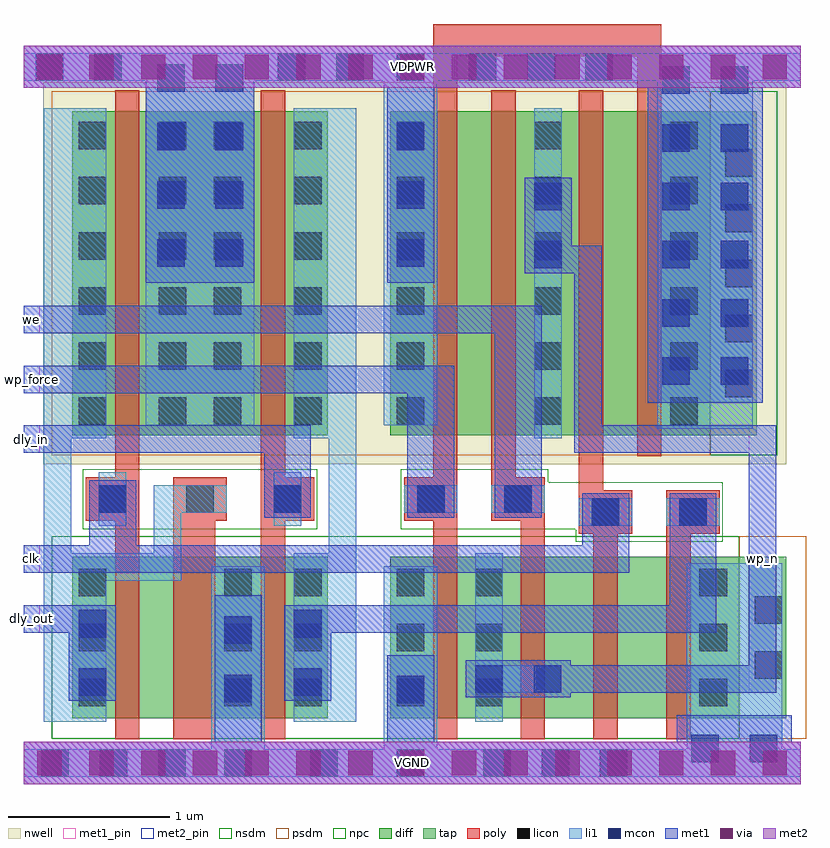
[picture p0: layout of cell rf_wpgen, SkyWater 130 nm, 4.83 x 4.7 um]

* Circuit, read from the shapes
.subckt rf_wpgen VDPWR VGND clk dly_in dly_out we wp_force wp_n
XM1 n1 clk dly_out VGND sky130_fd_pr__nfet_01v8 w=1 l=0.15
XM2 VGND dly_out n1 VGND sky130_fd_pr__nfet_01v8 w=1 l=0.26
XM3 n2 dly_in VGND VGND sky130_fd_pr__nfet_01v8 w=1 l=0.15
XM4 wp_n wp_force VGND VGND sky130_fd_pr__nfet_01v8 w=1 l=0.15
XM5 n3 we wp_n VGND sky130_fd_pr__nfet_01v8 w=1 l=0.15
XM6 n4 clk n3 VGND sky130_fd_pr__nfet_01v8 w=1 l=0.15
XM7 VGND n2 n4 VGND sky130_fd_pr__nfet_01v8 w=1 l=0.15
XM8 VDPWR clk dly_out VDPWR sky130_fd_pr__pfet_01v8 w=2 l=0.15
XM9 n2 dly_in VDPWR VDPWR sky130_fd_pr__pfet_01v8 w=2 l=0.15
XM10 n5 wp_force VDPWR VDPWR sky130_fd_pr__pfet_01v8 w=2 l=0.15
XM11 wp_n we n5 VDPWR sky130_fd_pr__pfet_01v8 w=2 l=0.15
XM12 n6 clk wp_n VDPWR sky130_fd_pr__pfet_01v8 w=2 l=0.15
XM13 VDPWR wp_force n6 VDPWR sky130_fd_pr__pfet_01v8 w=2 l=0.15
.ends

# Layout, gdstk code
import gdstk
lib = gdstk.Library(unit=1e-6, precision=1e-09)
def R(c, l, rs):  # rectangles x0, y0, x1, y1
    for r in rs: c.add(gdstk.rectangle(r[:2], r[2:], *l))
def A(c, l, x, y, w, h, nx, ny, dx, dy):  # array of equal rectangles
    R(c, l, [(x+i*dx, y+j*dy, x+i*dx+w, y+j*dy+h) for i in range(nx) for j in range(ny)])
nwell = (64, 20)
diff = (65, 20)
tap = (65, 44)
poly = (66, 20)
licon = (66, 44)
li1 = (67, 20)
mcon = (67, 44)
met1_pin = (68, 16)
met1 = (68, 20)
via = (68, 44)
met2_pin = (69, 16)
met2 = (69, 20)
nsdm = (93, 44)
psdm = (94, 20)
npc = (95, 20)

rf_wpgen = lib.new_cell('rf_wpgen')
R(rf_wpgen, nwell, [(-0.18,1.57,4.41,3.93)])
R(rf_wpgen, diff, [(0,0,1.58,1), (1.965,0,4.12,1), (0,1.75,1.58,3.75), (1.965,1.75,3.94,3.75)])
R(rf_wpgen, tap, [(4.12,0,4.41,1), (3.94,1.75,4.23,3.75)])
A(rf_wpgen, poly, 0.085, 1.22, 0.33, 0.27, 3, 1, 0.54, 0)
R(rf_wpgen, poly, [(0.265,-0.13,0.415,1.22), (0.625,-0.13,0.885,1.22), (1.165,-0.13,1.315,1.22), (2.23,-0.13,2.38,1.22), (2.77,-0.13,2.92,1.22), (3.22,-0.13,3.37,1.14), (3.67,-0.13,3.82,1.14), (3.13,1.14,3.46,1.41), (3.67,1.14,4,1.41), (2.05,1.22,2.38,1.49), (2.59,1.22,2.92,1.49), (3.13,1.41,3.28,3.88), (0.265,1.49,0.415,3.88), (1.165,1.49,1.315,3.88), (2.23,1.49,2.38,4.09), (2.59,1.49,2.74,3.88), (3.49,1.62,3.64,4.09), (2.23,4.09,3.64,4.29)])
A(rf_wpgen, licon, 0.04, 0.075, 0.17, 0.17, 1, 3, 0, 0.34)
A(rf_wpgen, licon, 0.94, 0.075, 0.17, 0.17, 1, 3, 0, 0.34)
A(rf_wpgen, licon, 1.37, 0.075, 0.17, 0.17, 1, 3, 0, 0.34)
A(rf_wpgen, licon, 2.005, 0.075, 0.17, 0.17, 1, 3, 0, 0.34)
A(rf_wpgen, licon, 2.49, 0.075, 0.17, 0.17, 1, 3, 0, 0.34)
A(rf_wpgen, licon, 3.875, 0.075, 0.17, 0.17, 1, 3, 0, 0.34)
A(rf_wpgen, licon, 0.165, 1.27, 0.17, 0.17, 3, 1, 0.54, 0)
A(rf_wpgen, licon, 0.04, 1.815, 0.17, 0.17, 1, 6, 0, 0.34)
A(rf_wpgen, licon, 0.535, 1.815, 0.17, 0.17, 1, 6, 0, 0.34)
A(rf_wpgen, licon, 0.875, 1.815, 0.17, 0.17, 1, 6, 0, 0.34)
A(rf_wpgen, licon, 1.37, 1.815, 0.17, 0.17, 1, 6, 0, 0.34)
A(rf_wpgen, licon, 2.005, 1.815, 0.17, 0.17, 1, 6, 0, 0.34)
A(rf_wpgen, licon, 2.855, 1.815, 0.17, 0.17, 1, 6, 0, 0.34)
A(rf_wpgen, licon, 3.695, 1.815, 0.17, 0.17, 1, 6, 0, 0.34)
A(rf_wpgen, licon, 4.035, 1.985, 0.17, 0.17, 1, 5, 0, 0.34)
R(rf_wpgen, licon, [(4.215,0.245,4.385,0.415), (4.215,0.585,4.385,0.755), (3.21,1.19,3.38,1.36), (3.75,1.19,3.92,1.36), (2.13,1.27,2.3,1.44), (2.67,1.27,2.84,1.44)])
R(rf_wpgen, li1, [(-0.3,-0.36,4.5,-0.19), (0.86,-0.19,1.19,0.94), (1.925,-0.19,2.255,0.94), (3.795,-0.19,4.385,0.96), (-0.175,-0.02,0.21,0.85), (1.37,-0.02,1.755,1.02), (2.49,-0.02,2.66,0.16), (2.49,0.16,3.02,0.33), (2.49,0.33,2.66,1.02), (-0.175,0.85,0.675,1.02), (-0.175,1.02,-0.005,1.73), (0.505,1.02,0.675,1.27), (1.585,1.02,1.755,1.73), (0.165,1.19,0.335,1.52), (1.245,1.19,1.415,1.52), (3.13,1.19,3.46,1.36), (3.67,1.19,4,1.36), (0.505,1.27,0.955,1.44), (2.05,1.27,2.38,1.44), (2.59,1.27,2.92,1.44), (-0.175,1.73,0.21,3.77), (1.37,1.73,1.755,3.77), (2.855,1.73,3.025,3.77), (3.615,1.79,4.205,3.94), (0.455,1.81,1.125,3.94), (1.925,1.81,2.255,3.94), (-0.3,3.94,4.5,4.11)])
A(rf_wpgen, mcon, -0.19, -0.36, 0.17, 0.17, 3, 1, 0.36, 0)
A(rf_wpgen, mcon, 1.47, -0.36, 0.17, 0.17, 3, 1, 0.535, 0)
A(rf_wpgen, mcon, 3.645, 2.06, 0.17, 0.17, 1, 6, 0, 0.36)
A(rf_wpgen, mcon, 4.005, 2.06, 0.17, 0.17, 1, 6, 0, 0.36)
A(rf_wpgen, mcon, 0.525, 2.79, 0.17, 0.17, 1, 4, 0, 0.36)
A(rf_wpgen, mcon, 0.885, 2.79, 0.17, 0.17, 1, 4, 0, 0.36)
A(rf_wpgen, mcon, 2.005, 2.79, 0.17, 0.17, 1, 3, 0, 0.36)
A(rf_wpgen, mcon, 2.45, 3.94, 0.17, 0.17, 3, 1, 0.36, 0)
R(rf_wpgen, mcon, [(0.94,-0.36,1.11,-0.19), (2.9,-0.36,3.07,-0.19), (3.26,-0.36,3.43,-0.19), (3.825,-0.27,3.995,-0.1), (4.185,-0.27,4.355,-0.1), (2.005,0.095,2.175,0.265), (0.94,0.1,1.11,0.27), (0.04,0.14,0.21,0.31), (1.37,0.14,1.54,0.31), (2.49,0.16,2.66,0.33), (2.85,0.16,3.02,0.33), (0.94,0.46,1.11,0.63), (0.04,0.5,0.21,0.67), (1.37,0.5,1.54,0.67), (3.21,1.19,3.38,1.36), (3.75,1.19,3.92,1.36), (0.165,1.27,0.335,1.44), (1.245,1.27,1.415,1.44), (2.13,1.27,2.3,1.44), (2.67,1.27,2.84,1.44), (2.855,2.78,3.025,2.95), (2.855,3.14,3.025,3.31), (-0.225,3.94,-0.055,4.11), (0.135,3.94,0.305,4.11), (1.27,3.94,1.44,4.11), (1.63,3.94,1.8,4.11), (2.005,3.94,2.175,4.11)])
A(rf_wpgen, met1_pin, -0.3, 1.64, 0.1, 0.17, 1, 3, 0, 0.37)
R(rf_wpgen, met1_pin, [(4.18,0.16,4.35,1.81), (-0.3,0.53,-0.2,0.7), (-0.3,0.9,-0.2,1.07)])
R(rf_wpgen, met1, [(-0.3,-0.405,4.5,-0.145), (0.88,-0.145,1.17,0.76), (1.945,-0.145,2.235,0.39), (3.735,-0.145,4.445,0.02), (-0.02,0.11,0.27,0.53), (1.31,0.11,1.6,0.53), (2.43,0.13,3.08,0.16), (2.43,0.16,4.35,0.33), (2.43,0.33,3.08,0.36), (4.18,0.33,4.35,1.64), (-0.3,0.53,0.27,0.7), (1.31,0.53,3.98,0.7), (3.69,0.7,3.98,1.39), (-0.3,0.9,3.44,1.07), (0.105,1.07,0.395,1.47), (3.15,1.07,3.44,1.39), (1.185,1.24,1.475,1.64), (2.07,1.24,2.36,2.01), (2.61,1.24,2.9,2.38), (-0.3,1.64,1.475,1.81), (3.1,1.64,4.35,1.81), (3.1,1.81,3.27,2.75), (3.555,1.95,4.265,3.895), (-0.3,2.01,2.36,2.18), (-0.3,2.38,2.9,2.55), (0.455,2.69,1.125,3.895), (1.945,2.69,2.235,3.895), (2.795,2.75,3.27,2.92), (2.795,2.92,3.085,3.34), (-0.3,3.895,4.5,4.155)])
A(rf_wpgen, via, -0.215, -0.35, 0.15, 0.15, 15, 2, 0.32, 4.3)
R(rf_wpgen, met2_pin, [(-0.3,-0.405,4.5,-0.145), (-0.3,3.895,4.5,4.155)])
R(rf_wpgen, met2, [(-0.3,-0.405,4.5,-0.145), (-0.3,3.895,4.5,4.155)])
R(rf_wpgen, nsdm, [(-0.125,-0.125,4.12,1.125), (3.94,1.625,4.355,3.875)])
R(rf_wpgen, psdm, [(4.12,-0.125,4.535,1.125), (-0.125,1.625,3.94,3.875)])
R(rf_wpgen, npc, [(3.11,1.09,4.02,1.17), (0.065,1.17,1.515,1.54), (2.03,1.17,4.02,1.46), (2.03,1.46,2.94,1.54)])
rf_wpgen.add(gdstk.Label('VGND', (2.1,-0.275), layer=69, texttype=5))
rf_wpgen.add(gdstk.Label('VDPWR', (2.1,4.025), layer=69, texttype=5))
rf_wpgen.add(gdstk.Label('clk', (-0.25,0.985), layer=68, texttype=5))
rf_wpgen.add(gdstk.Label('we', (-0.25,2.465), layer=68, texttype=5))
rf_wpgen.add(gdstk.Label('wp_force', (-0.25,2.095), layer=68, texttype=5))
rf_wpgen.add(gdstk.Label('wp_n', (4.265,0.985), layer=68, texttype=5))
rf_wpgen.add(gdstk.Label('dly_out', (-0.25,0.615), layer=68, texttype=5))
rf_wpgen.add(gdstk.Label('dly_in', (-0.25,1.725), layer=68, texttype=5))

lib.write_gds('rf_wpgen.gds')
